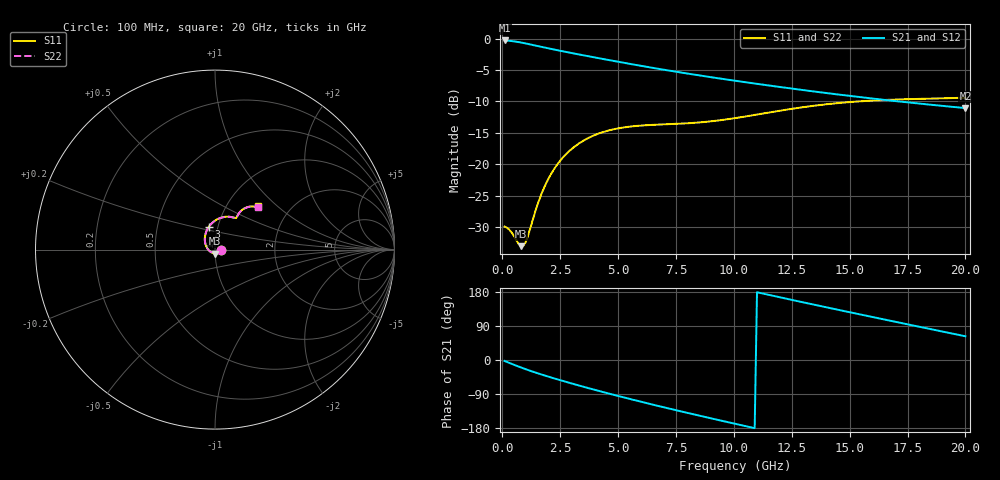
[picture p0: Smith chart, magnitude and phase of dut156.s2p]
! Touchstone file exported from HFSS 2023.1.0
!  File:  D:/Users/fzz/RDL_TSV/temp_RDL_TSV_156_1778753196.aedt
!  Generated:  6:15:47 %x4E0B%x5348  5%x6708 14, 2026
!  Design:  RDL_TSV
!  Project:  temp_RDL_TSV_156_1778753196
!  Setup:  Setup1
!  Solution:  Sweep
! Variables:
!  dtsv = 20.64um
!  hbump = 3um
!  htsv = 80.62um
!  ldown = 389.57um
!  lrdl = 548.35um
!  p = 40
!  p1 = 43.88um
!  rhole = 10um
!  subl = 3362.11um
!  t = 450um
!  tdown = 2.08um
!  trdl = 3.15um
!  viad = 10um
!  wdown = 13.5um
!  wrdl = 13.13um
!  xbump = 18um
# GHz S MA R 50.000000
! Terminal data exported
! Port[1] = TM1_1_T1
! Port[2] = TM1_4_T1
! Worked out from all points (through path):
!   200 points, 100 MHz to 20 GHz, reference 50 ohm
!   highest |S21| = -0.29 dB at 100 MHz (marker M1); lowest = -11.1 dB at 20 GHz (marker M2)
!   group delay of S21, straight-line fit = 39.6 ps
!   lowest |S11| = -33.0 dB at 800 MHz (marker M3), VSWR 1.05, Z = 49.8 - j2.22 ohm
!   |S11| at or under -10 dB: start of sweep to 15.34 GHz
!   |S22| runs from -33.0 to -9.4 dB; largest |S21 - S12| = 6.3e-14
!   S11 on the Smith chart (normalised r, x): 100 MHz: 1.07, -0.01; 3 GHz: 0.91, +0.24; 20 GHz: 1.39, +0.75
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0.1  0.03198 -8.2  0.967 -2.6  0.967 -2.6  0.03198 -8.2
! Gamma 0 0 0 0
! Port Impedance 50 0 50 0
0.4  0.0287 -36.0  0.957 -10.1  0.957 -10.1  0.02871 -36.0
0.8  0.02233 -93.4  0.9319 -19.6  0.9319 -19.6  0.02234 -93.4
0.9  0.0224 -112.5  0.9243 -21.8  0.9243 -21.8  0.0224 -112.5
1  0.02384 -131.5  0.9164 -24.1  0.9164 -24.1  0.02384 -131.4
1.6  0.05248 159.0  0.8673 -36.5  0.8673 -36.5  0.0524 159.1
2  0.07724 137.2  0.8362 -44.1  0.8362 -44.1  0.07712 137.2
2.5  0.1068 118.5  0.8004 -53.2  0.8004 -53.2  0.1066 118.5
3  0.1327 104.7  0.7676 -62.0  0.7676 -62.0  0.1325 104.7
3.5  0.1541 93.7  0.7369 -70.6  0.7369 -70.6  0.1539 93.7
4.2  0.1767 81.7  0.6968 -82.1  0.6968 -82.1  0.1764 81.7
5  0.1932 71.5  0.6546 -94.9  0.6546 -94.9  0.1928 71.5
5.9  0.2028 63.6  0.6115 -108.8  0.6115 -108.8  0.2024 63.6
6.8  0.2072 58.9  0.5728 -122.3  0.5728 -122.3  0.2068 58.8
8.4  0.2145 56.2  0.5134 -145.3  0.5134 -145.3  0.2141 56.1
10.1  0.2338 56.7  0.4609 -169.0  0.4609 -169.0  0.2332 56.6
11.6  0.2598 56.2  0.4215 170.7  0.4215 170.7  0.2591 56.1
13.4  0.2915 53.5  0.381 146.8  0.381 146.8  0.2906 53.4
15  0.3128 50.3  0.3504 126.0  0.3504 126.0  0.3116 50.1
16.7  0.3261 47.2  0.3227 104.3  0.3227 104.3  0.3247 47.1
18.3  0.3326 45.5  0.3005 84.1  0.3005 84.1  0.3311 45.5
20  0.3388 45.2  0.28 62.6  0.28 62.6  0.3371 45.2
